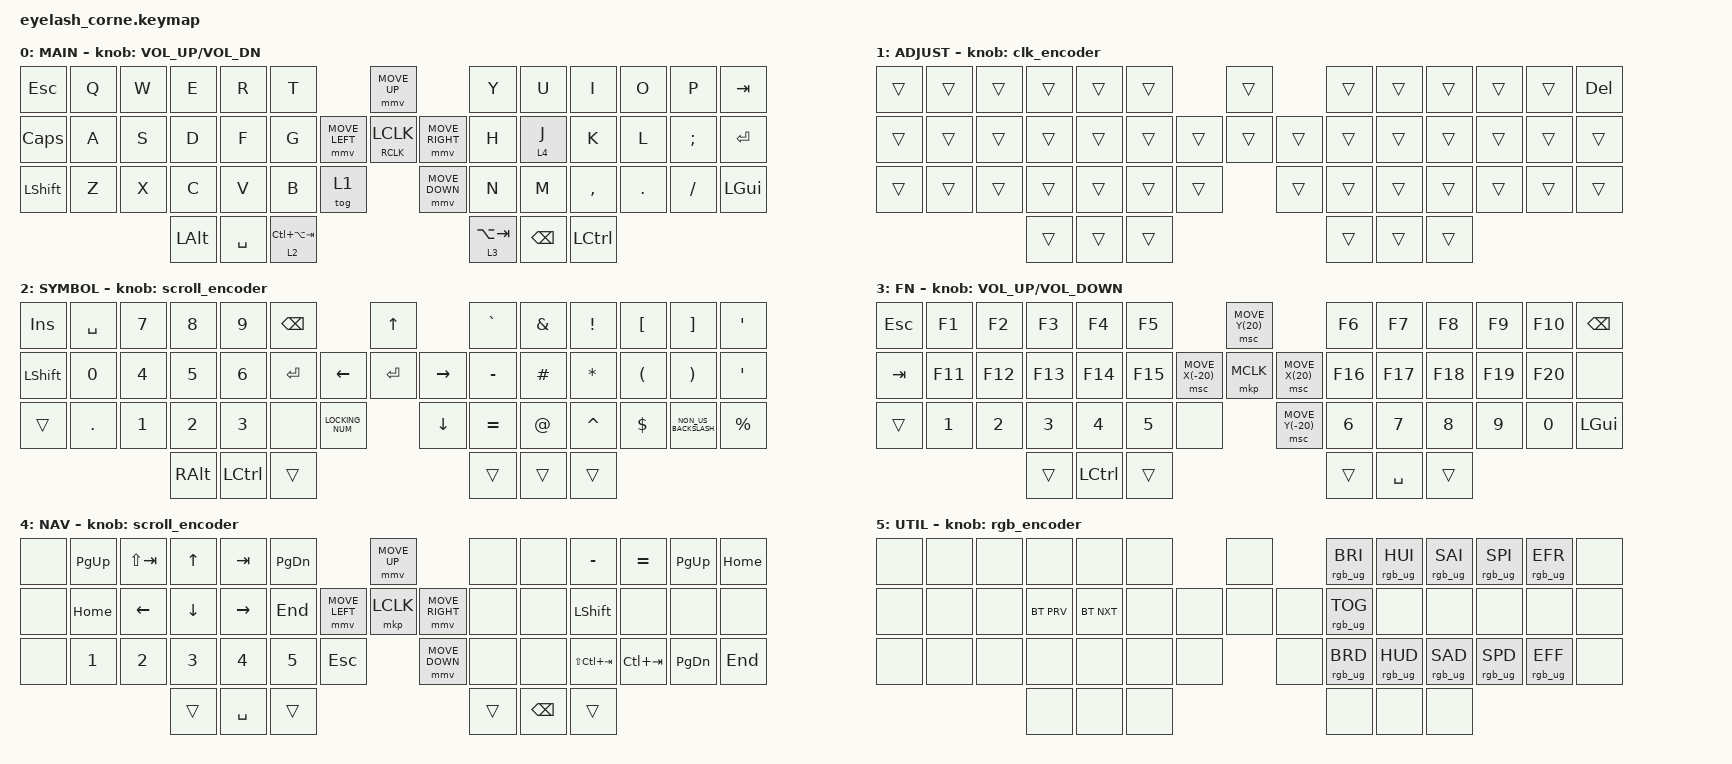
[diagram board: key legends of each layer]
#define ZMK_POINTING_DEFAULT_MOVE_VAL 1200  // 600
#define ZMK_POINTING_DEFAULT_SCRL_VAL 25   // 10

#include <input/processors.dtsi>
#include <zephyr/dt-bindings/input/input-event-codes.h>
#include <behaviors.dtsi>
#include <dt-bindings/zmk/bt.h>
#include <dt-bindings/zmk/keys.h>
#include <dt-bindings/zmk/pointing.h>
#include <dt-bindings/zmk/rgb.h>

&lt { quick-tap-ms = <200>; };

&mmv_input_listener { input-processors = <&zip_xy_scaler 2 1>; };

&msc_input_listener { input-processors = <&zip_scroll_scaler 2 1>; };

&msc {
    acceleration-exponent = <1>;      // 0
    time-to-max-speed-ms = <100>;       // 300
    delay-ms = <0>;                   // 0
};

&mmv {
    time-to-max-speed-ms = <500>;
    acceleration-exponent = <1>;
    trigger-period-ms = <16>;
};

&soft_off { hold-time-ms = <2000>; };

/ {
    behaviors {
        td0: td0 {
            compatible = "zmk,behavior-tap-dance";
            display-name = "Shift/Caps Lock Tap Dance";
            #binding-cells = <0>;
            bindings = <&kp LEFT_SHIFT>, <&kp CAPS>;
        };

        clk_encoder: clk_encoder {
            compatible = "zmk,behavior-sensor-rotate";
            #sensor-binding-cells = <0>;
            bindings = <&mkp RCLK>, <&mkp LCLK>;
        };
    };

    rgb_encoder: rgb_encoder {
        compatible = "zmk,behavior-sensor-rotate";
        #sensor-binding-cells = <0>;
        bindings = <&rgb_ug RGB_BRI>, <&rgb_ug RGB_BRD>;
    };

    scroll_encoder: scroll_encoder {
        compatible = "zmk,behavior-sensor-rotate";
        #sensor-binding-cells = <0>;
        bindings = <&msc SCRL_DOWN>, <&msc SCRL_UP>;

        tap-ms = <100>;
    };

    lr_clk: lr_clk {
        compatible = "zmk,behavior-hold-tap";
        #binding-cells = <2>;
        tapping-term-ms = <200>;
        bindings = <&mkp>, <&mkp>;
    };

    combos {
        compatible = "zmk,combos";

        softoff {
            bindings = <&soft_off>;
            key-positions = <1 15 29>;
        };
    };

    keymap {
        compatible = "zmk,keymap";

        default_layer {
            display-name = "MAIN";
            bindings = <
&kp ESCAPE      &kp Q  &kp W  &kp E         &kp R      &kp T                                        &mmv MOVE_UP                        &kp Y          &kp U          &kp I             &kp O    &kp P     &kp TAB
&kp CAPS        &kp A  &kp S  &kp D         &kp F      &kp G                        &mmv MOVE_LEFT  &lr_clk RCLK LCLK  &mmv MOVE_RIGHT  &kp H          &lt 4 J        &kp K             &kp L    &kp SEMI  &kp ENTER
&kp LEFT_SHIFT  &kp Z  &kp X  &kp C         &kp V      &kp B              &tog 1                    &mmv MOVE_DOWN                      &kp N          &kp M          &kp COMMA         &kp DOT  &kp FSLH  &kp LEFT_GUI
                              &kp LEFT_ALT  &kp SPACE  &lt 2 LC(LA(TAB))                                                                &lt 3 LA(TAB)  &kp BACKSPACE  &kp LEFT_CONTROL
            >;

            sensor-bindings = <&inc_dec_kp C_VOLUME_UP C_VOL_DN>;
        };

        lower_layer {
            display-name = "ADJUST";
            bindings = <
&trans  &trans  &trans  &trans  &trans  &trans                    &trans          &trans  &trans  &trans  &trans  &trans  &kp DELETE
&trans  &trans  &trans  &trans  &trans  &trans            &trans  &trans  &trans  &trans  &trans  &trans  &trans  &trans  &trans
&trans  &trans  &trans  &trans  &trans  &trans  &trans            &trans          &trans  &trans  &trans  &trans  &trans  &trans
                        &trans  &trans  &trans                                    &trans  &trans  &trans
            >;

            sensor-bindings = <&clk_encoder>;
        };

        raise_layer {
            display-name = "SYMBOL";
            bindings = <
&kp INS         &kp SPACE   &kp N7  &kp N8         &kp N9     &kp BACKSPACE                               &kp UP                &kp GRAVE  &kp AMPERSAND  &kp EXCLAMATION  &kp LEFT_BRACKET      &kp RIGHT_BRACKET      &kp SQT
&kp LEFT_SHIFT  &kp N0      &kp N4  &kp N5         &kp N6     &kp ENTER                         &kp LEFT  &kp ENTER  &kp RIGHT  &kp MINUS  &kp POUND      &kp ASTERISK     &kp LEFT_PARENTHESIS  &kp RIGHT_PARENTHESIS  &kp SINGLE_QUOTE
&trans          &kp PERIOD  &kp N1  &kp N2         &kp N3     &none          &kp LOCKING_NUM              &kp DOWN              &kp EQUAL  &kp AT_SIGN    &kp CARET        &kp DOLLAR            &kp NON_US_BACKSLASH   &kp PERCENT
                                    &kp RIGHT_ALT  &kp LCTRL  &trans                                                            &trans     &trans         &trans
            >;

            sensor-bindings = <&scroll_encoder>;
        };

        layer_3 {
            display-name = "FN";
            bindings = <
&kp ESC  &kp F1   &kp F2   &kp F3   &kp F4            &kp F5                              &msc MOVE_Y(20)                    &kp F6   &kp F7     &kp F8   &kp F9   &kp F10  &kp BSPC
&kp TAB  &kp F11  &kp F12  &kp F13  &kp F14           &kp F15           &msc MOVE_X(-20)  &mkp MCLK         &msc MOVE_X(20)  &kp F16  &kp F17    &kp F18  &kp F19  &kp F20  &none
&trans   &kp N1   &kp N2   &kp N3   &kp N4            &kp N5   &none                      &msc MOVE_Y(-20)                   &kp N6   &kp N7     &kp N8   &kp N9   &kp N0   &kp LEFT_GUI
                           &trans   &kp LEFT_CONTROL  &trans                                                                 &trans   &kp SPACE  &trans
            >;

            sensor-bindings = <&inc_dec_kp C_VOLUME_UP C_VOLUME_DOWN>;
        };

        layer_4 {
            display-name = "NAV";
            bindings = <
&none  &kp PAGE_UP  &kp LS(TAB)  &kp UP    &kp TAB    &kp PAGE_DOWN                             &mmv MOVE_UP                     &none   &none          &kp MINUS        &kp EQUAL    &kp PAGE_UP    &kp HOME
&none  &kp HOME     &kp LEFT     &kp DOWN  &kp RIGHT  &kp END                   &mmv MOVE_LEFT  &mkp LCLK       &mmv MOVE_RIGHT  &none   &none          &kp LEFT_SHIFT   &none        &none          &none
&none  &kp N1       &kp N2       &kp N3    &kp N4     &kp N5         &kp ESC                    &mmv MOVE_DOWN                   &none   &none          &kp LS(LC(TAB))  &kp LC(TAB)  &kp PAGE_DOWN  &kp END
                                 &trans    &kp SPACE  &trans                                                                     &trans  &kp BACKSPACE  &trans
            >;

            sensor-bindings = <&scroll_encoder>;
        };

        layer_5 {
            display-name = "UTIL";
            bindings = <
&none  &none  &none  &none       &none       &none                  &none         &rgb_ug RGB_BRI  &rgb_ug RGB_HUI  &rgb_ug RGB_SAI  &rgb_ug RGB_SPI  &rgb_ug RGB_EFR  &none
&none  &none  &none  &bt BT_PRV  &bt BT_NXT  &none           &none  &none  &none  &rgb_ug RGB_TOG  &none            &none            &none            &none            &none
&none  &none  &none  &none       &none       &none  &none           &none         &rgb_ug RGB_BRD  &rgb_ug RGB_HUD  &rgb_ug RGB_SAD  &rgb_ug RGB_SPD  &rgb_ug RGB_EFF  &none
                     &none       &none       &none                                &none            &none            &none
            >;

            sensor-bindings = <&rgb_encoder>;
        };
    };

    conditional_layers {
        compatible = "zmk,conditional-layers";

        UTIL {
            if-layers = <2 3>;
            then-layer = <5>;
        };
    };
};
